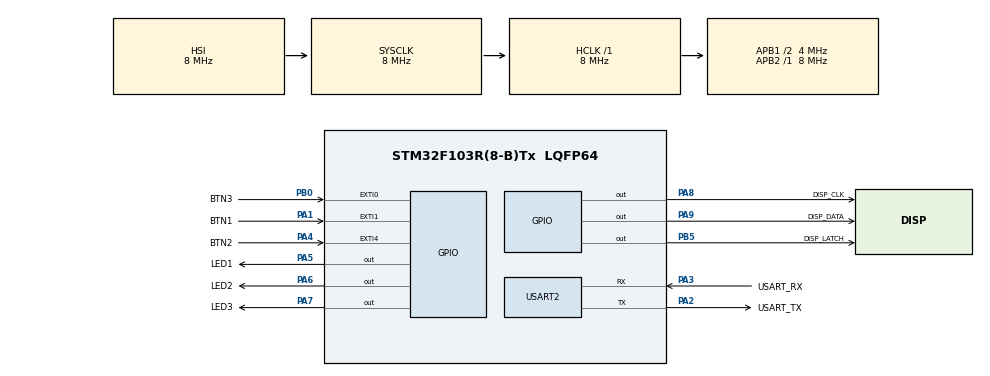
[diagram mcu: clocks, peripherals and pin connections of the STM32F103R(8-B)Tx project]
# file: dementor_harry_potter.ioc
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Mcu.Family=STM32F1
Mcu.Name=STM32F103R(8-B)Tx
Mcu.Package=LQFP64
NVIC.PriorityGroup=NVIC_PRIORITYGROUP_4
PA1.GPIO_Label=BTN1
PA1.Signal=GPXTI1
PA13.GPIO_Label=TMS
PA13.Mode=Serial_Wire
PA13.Signal=SYS_JTMS-SWDIO
PA14.GPIO_Label=TCK
PA14.Mode=Serial_Wire
PA14.Signal=SYS_JTCK-SWCLK
PA2.GPIO_Label=USART_TX
PA2.GPIO_Mode=GPIO_MODE_AF_PP
PA2.GPIO_PuPd=GPIO_NOPULL
PA2.GPIO_Speed=GPIO_SPEED_FREQ_LOW
PA2.Mode=Asynchronous
PA2.Signal=USART2_TX
PA3.GPIO_Label=USART_RX
PA3.GPIO_Mode=GPIO_MODE_AF_PP
PA3.GPIO_PuPd=GPIO_NOPULL
PA3.GPIO_Speed=GPIO_SPEED_FREQ_LOW
PA3.Mode=Asynchronous
PA3.Signal=USART2_RX
PA4.GPIO_Label=BTN2
PA4.Signal=GPXTI4
PA5.GPIO_Label=LED1
PA5.GPIO_PuPd=GPIO_NOPULL
PA5.GPIO_Speed=GPIO_SPEED_FREQ_LOW
PA5.Signal=GPIO_Output
PA6.GPIO_Label=LED2
PA6.GPIO_PuPd=GPIO_NOPULL
PA6.Signal=GPIO_Output
PA7.GPIO_Label=LED3
PA7.GPIO_PuPd=GPIO_NOPULL
PA7.Signal=GPIO_Output
PA8.GPIO_Label=DISP_CLK
PA8.Signal=GPIO_Output
PA9.GPIO_Label=DISP_DATA
PA9.Signal=GPIO_Output
PB0.GPIO_Label=BTN3
PB0.Signal=GPXTI0
PB3.GPIO_Label=SWO
PB3.Signal=SYS_JTDO-TRACESWO
PB5.GPIO_Label=DISP_LATCH
PB5.PinState=GPIO_PIN_SET
PB5.Signal=GPIO_Output
PC14-OSC32_IN.Mode=LSE-External-Oscillator
PC14-OSC32_IN.Signal=RCC_OSC32_IN
PC15-OSC32_OUT.Mode=LSE-External-Oscillator
PC15-OSC32_OUT.Signal=RCC_OSC32_OUT
PD0-OSC_IN.Mode=HSE-External-Clock-Source
PD0-OSC_IN.Signal=RCC_OSC_IN
PD1-OSC_OUT.Mode=HSE-External-Clock-Source
PD1-OSC_OUT.Signal=RCC_OSC_OUT
ProjectManager.HeapSize=0x200
ProjectManager.StackSize=0x400
ProjectManager.TargetToolchain=STM32CubeIDE
RCC.AHBFreq_Value=8000000
RCC.APB1CLKDivider=RCC_HCLK_DIV2
RCC.APB1Freq_Value=4000000
RCC.APB1TimFreq_Value=8000000
RCC.APB2Freq_Value=8000000
RCC.APB2TimFreq_Value=8000000
RCC.HCLKFreq_Value=8000000
RCC.PLLMUL=RCC_PLL_MUL16
RCC.RTCClockSelection=RCC_RTCCLKSOURCE_LSE
RCC.SYSCLKFreq_VALUE=8000000
RCC.USBFreq_Value=64000000
USART2.VirtualMode=VM_ASYNC
board=NUCLEO-F103RB

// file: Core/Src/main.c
/* USER CODE BEGIN Header */
/**
  ******************************************************************************
  * @file           : main.c
  * @brief          : Main program body
  ******************************************************************************
  * @attention
  *
  * Copyright (c) 2024 STMicroelectronics.
  * All rights reserved.
  *
  * This software is licensed under terms that can be found in the LICENSE file
  * in the root directory of this software component.
  * If no LICENSE file comes with this software, it is provided AS-IS.
  *
  ******************************************************************************
  */
/* USER CODE END Header */
#include "main.h"
#include <stdlib.h>
#include <stdbool.h>

UART_HandleTypeDef huart2;

void SystemClock_Config(void);
static void MX_GPIO_Init(void);
static void MX_USART2_UART_Init(void);

/* USER CODE BEGIN 0 */
//void writeByteToDisplay(unsigned short int data) {
//
//	HAL_GPIO_WritePin(DISP_CLK_GPIO_Port, DISP_CLK_Pin, GPIO_PIN_RESET);
//	HAL_GPIO_WritePin(DISP_LATCH_GPIO_Port, DISP_LATCH_Pin, GPIO_PIN_RESET);
//
//
//	for (char i = 0; i < 8; i++) {
//		char bit = (data & 1);
//		data = data >> 1;
//		HAL_GPIO_WritePin(DISP_DATA_GPIO_Port, DISP_DATA_Pin, bit);
//		HAL_GPIO_WritePin(DISP_CLK_GPIO_Port, DISP_CLK_Pin, GPIO_PIN_SET);
//		HAL_GPIO_WritePin(DISP_CLK_GPIO_Port, DISP_CLK_Pin, GPIO_PIN_RESET);
//	}
//
//	HAL_GPIO_WritePin(DISP_LATCH_GPIO_Port, DISP_LATCH_Pin, GPIO_PIN_SET);
//}

void spi_write(uint8_t value) {
  for (int i = 0; i < 8; i++) {
    uint8_t bit = value & 1;
    HAL_GPIO_WritePin(GPIOA, GPIO_PIN_9, bit); //data line
    HAL_GPIO_WritePin(GPIOA, GPIO_PIN_8, GPIO_PIN_SET); //data up
    HAL_GPIO_WritePin(GPIOA, GPIO_PIN_8, GPIO_PIN_RESET); //data down
    value >>= 1;
  }
}

void display(uint8_t index, uint8_t value){
	const uint8_t NUM_MAP[] = {0x03, 0x9F, 0x25, 0x0D, 0x99, 0x49, 0x41, 0x1F, 0x01, 0x09, 0x11, 0xC1, 0x63, 0x85, 0x61, 0x71, 0xFF};
	const uint8_t SEGMENT_SELECT[] = {0x00, 0x80, 0x40, 0x20};

	HAL_GPIO_WritePin(DISP_LATCH_GPIO_Port, DISP_LATCH_Pin, GPIO_PIN_RESET);

	spi_write(SEGMENT_SELECT[index]);
	spi_write(NUM_MAP[value]);
	HAL_GPIO_WritePin(DISP_LATCH_GPIO_Port, DISP_LATCH_Pin, GPIO_PIN_SET);
}

typedef enum Button {
	BTN_1 = 0,
	BTN_2,
	BTN_3,
	ButtonCount,
} Button;

uint8_t generated_buttons[10000];
int generated_buttons_len = 0;
int max_score = 0;

Button pick_random_button() {
	return rand() % ButtonCount;
}

void add_new_button() {
	generated_buttons[generated_buttons_len] = pick_random_button();
	generated_buttons_len += 1;
}

void reset_buttons() {
	generated_buttons_len = 0;
}

void set_led(Button btn, bool state) {
	// SET LED
}

void blink_led(Button btn, int time) {
	set_led(btn, true);
	HAL_Delay(time);
	set_led(btn, false);
}

void play_button_series() {
	for (int i = 0; i < generated_buttons_len; i++) {
		Button x = generated_buttons[i];
		blink_led(x, 1000);
		HAL_Delay(100);
	}
}

void accept_user_input() {

}

void show_score() {
	// TODO
}

void wait_first_button() {

}

void show_max_score() {

}

void wait_btn1() {
	// TODO
}

/* USER CODE END 0 */

int main(void)
{

  /* MCU Configuration--------------------------------------------------------*/

  /* Reset of all peripherals, Initializes the Flash interface and the Systick. */
  HAL_Init();

  /* Configure the system clock */
  SystemClock_Config();

  /* Initialize all configured peripherals */
  MX_GPIO_Init();
  MX_USART2_UART_Init();
  /* USER CODE BEGIN 2 */
  HAL_GPIO_WritePin(DISP_LATCH_GPIO_Port, DISP_LATCH_Pin, GPIO_PIN_SET);
  /* USER CODE END 2 */

  /* Infinite loop */
  /* USER CODE BEGIN WHILE */
  while (true)
  {
	  show_max_score();
	  wait_btn1();
	  add_new_button();
	  play_button_series();

  }
  /* USER CODE END 3 */
}

void SystemClock_Config(void)
{
  RCC_OscInitTypeDef RCC_OscInitStruct = {0};
  RCC_ClkInitTypeDef RCC_ClkInitStruct = {0};

  /** Initializes the RCC Oscillators according to the specified parameters
  * in the RCC_OscInitTypeDef structure.
  */
  RCC_OscInitStruct.OscillatorType = RCC_OSCILLATORTYPE_HSI;
  RCC_OscInitStruct.HSIState = RCC_HSI_ON;
  RCC_OscInitStruct.HSICalibrationValue = RCC_HSICALIBRATION_DEFAULT;
  RCC_OscInitStruct.PLL.PLLState = RCC_PLL_NONE;
  if (HAL_RCC_OscConfig(&RCC_OscInitStruct) != HAL_OK)
  {
    Error_Handler();
  }

  /** Initializes the CPU, AHB and APB buses clocks
  */
  RCC_ClkInitStruct.ClockType = RCC_CLOCKTYPE_HCLK|RCC_CLOCKTYPE_SYSCLK
                              |RCC_CLOCKTYPE_PCLK1|RCC_CLOCKTYPE_PCLK2;
  RCC_ClkInitStruct.SYSCLKSource = RCC_SYSCLKSOURCE_HSI;
  RCC_ClkInitStruct.AHBCLKDivider = RCC_SYSCLK_DIV1;
  RCC_ClkInitStruct.APB1CLKDivider = RCC_HCLK_DIV2;
  RCC_ClkInitStruct.APB2CLKDivider = RCC_HCLK_DIV1;

  if (HAL_RCC_ClockConfig(&RCC_ClkInitStruct, FLASH_LATENCY_0) != HAL_OK)
  {
    Error_Handler();
  }
}

static void MX_USART2_UART_Init(void)
{

  huart2.Instance = USART2;
  huart2.Init.BaudRate = 115200;
  huart2.Init.WordLength = UART_WORDLENGTH_8B;
  huart2.Init.StopBits = UART_STOPBITS_1;
  huart2.Init.Parity = UART_PARITY_NONE;
  huart2.Init.Mode = UART_MODE_TX_RX;
  huart2.Init.HwFlowCtl = UART_HWCONTROL_NONE;
  huart2.Init.OverSampling = UART_OVERSAMPLING_16;
  if (HAL_UART_Init(&huart2) != HAL_OK)
  {
    Error_Handler();
  }

}

static void MX_GPIO_Init(void)
{
  GPIO_InitTypeDef GPIO_InitStruct = {0};

  /* GPIO Ports Clock Enable */
  __HAL_RCC_GPIOC_CLK_ENABLE();
  __HAL_RCC_GPIOD_CLK_ENABLE();
  __HAL_RCC_GPIOA_CLK_ENABLE();
  __HAL_RCC_GPIOB_CLK_ENABLE();

  /*Configure GPIO pin Output Level */
  HAL_GPIO_WritePin(GPIOA, LED1_Pin|LED2_Pin|LED3_Pin|DISP_CLK_Pin
                          |DISP_DATA_Pin, GPIO_PIN_RESET);

  /*Configure GPIO pin Output Level */
  HAL_GPIO_WritePin(DISP_LATCH_GPIO_Port, DISP_LATCH_Pin, GPIO_PIN_SET);

  /*Configure GPIO pins : BTN1_Pin BTN2_Pin */
  GPIO_InitStruct.Pin = BTN1_Pin|BTN2_Pin;
  GPIO_InitStruct.Mode = GPIO_MODE_IT_RISING;
  GPIO_InitStruct.Pull = GPIO_NOPULL;
  HAL_GPIO_Init(GPIOA, &GPIO_InitStruct);

  /*Configure GPIO pins : LED1_Pin LED2_Pin LED3_Pin DISP_CLK_Pin
                           DISP_DATA_Pin */
  GPIO_InitStruct.Pin = LED1_Pin|LED2_Pin|LED3_Pin|DISP_CLK_Pin
                          |DISP_DATA_Pin;
  GPIO_InitStruct.Mode = GPIO_MODE_OUTPUT_PP;
  GPIO_InitStruct.Pull = GPIO_NOPULL;
  GPIO_InitStruct.Speed = GPIO_SPEED_FREQ_LOW;
  HAL_GPIO_Init(GPIOA, &GPIO_InitStruct);

  /*Configure GPIO pin : BTN3_Pin */
  GPIO_InitStruct.Pin = BTN3_Pin;
  GPIO_InitStruct.Mode = GPIO_MODE_IT_RISING;
  GPIO_InitStruct.Pull = GPIO_NOPULL;
  HAL_GPIO_Init(BTN3_GPIO_Port, &GPIO_InitStruct);

  /*Configure GPIO pin : DISP_LATCH_Pin */
  GPIO_InitStruct.Pin = DISP_LATCH_Pin;
  GPIO_InitStruct.Mode = GPIO_MODE_OUTPUT_PP;
  GPIO_InitStruct.Pull = GPIO_NOPULL;
  GPIO_InitStruct.Speed = GPIO_SPEED_FREQ_LOW;
  HAL_GPIO_Init(DISP_LATCH_GPIO_Port, &GPIO_InitStruct);

}

void Error_Handler(void)
{
  __disable_irq();
  while (1)
  {
  }
}
